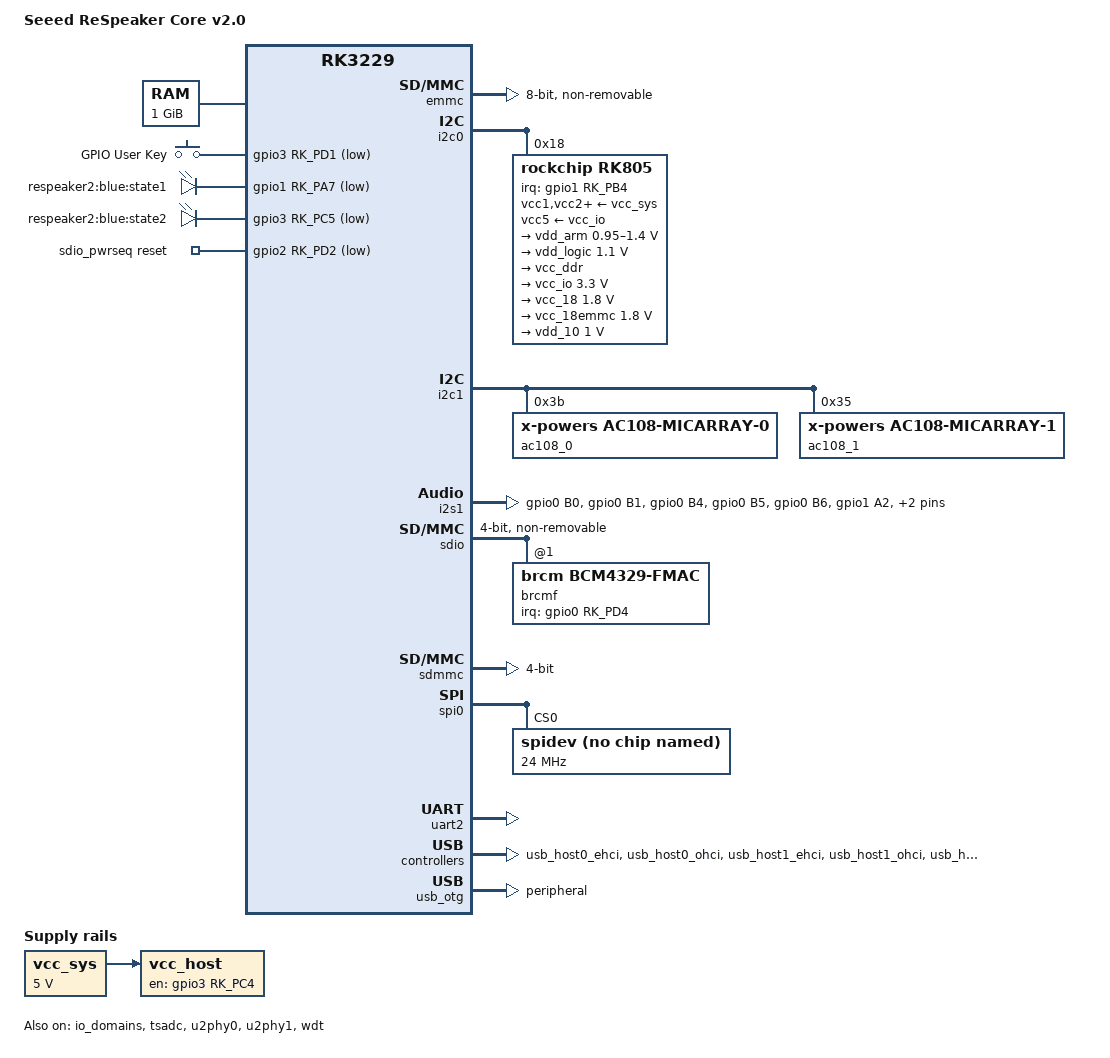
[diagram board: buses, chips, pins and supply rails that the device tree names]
// SPDX-License-Identifier: (GPL-2.0+ OR MIT)
/*
 * Seeed ReSpeaker Core v2.0 (RK3229, RK805 PMIC, AP6212, 2x AC108 mic ADC)
 *
 * Written for mainline 6.18 from Seeed's 4.4 vendor tree
 * (rk3229-respeaker-v2.dts, Copyright (c) 2017 Seeed Technology Co., Ltd).
 */

/dts-v1/;

#include <dt-bindings/input/input.h>
#include <dt-bindings/leds/common.h>
#include "rk3229.dtsi"

/ {
	model = "Seeed ReSpeaker Core v2.0";
	compatible = "seeed,respeaker-core-v2", "rockchip,rk3229";

	aliases {
		mmc0 = &sdmmc;
		mmc1 = &emmc;
		mmc2 = &sdio;
		serial2 = &uart2;
	};

	chosen {
		stdout-path = "serial2:115200n8";
	};

	memory@60000000 {
		device_type = "memory";
		reg = <0x60000000 0x40000000>;
	};

	reserved-memory {
		#address-cells = <1>;
		#size-cells = <1>;
		ranges;

		/* OP-TEE / trust image loaded by the vendor bootloader */
		trust_reserved: trust@68400000 {
			reg = <0x68400000 0xe00000>;
			no-map;
		};

		/* kernel log that survives a panic or watchdog reset: /sys/fs/pstore */
		ramoops@90000000 {
			compatible = "ramoops";
			reg = <0x90000000 0x100000>;
			record-size = <0x20000>;
			console-size = <0x80000>;
			ecc-size = <16>;
		};
	};

	gpio-keys {
		compatible = "gpio-keys";
		autorepeat;
		pinctrl-names = "default";
		pinctrl-0 = <&user_key>;

		key-user {
			label = "GPIO User Key";
			gpios = <&gpio3 RK_PD1 GPIO_ACTIVE_LOW>;
			linux,code = <KEY_F24>;
			debounce-interval = <100>;
			wakeup-source;
		};
	};

	leds {
		compatible = "gpio-leds";
		pinctrl-names = "default";
		pinctrl-0 = <&gpio_leds>;

		led-0 {
			label = "respeaker2:blue:state1";
			gpios = <&gpio1 RK_PA7 GPIO_ACTIVE_LOW>;
			linux,default-trigger = "heartbeat";
			default-state = "off";
		};

		led-1 {
			label = "respeaker2:blue:state2";
			gpios = <&gpio3 RK_PC5 GPIO_ACTIVE_LOW>;
			linux,default-trigger = "mmc0";
			default-state = "off";
		};
	};

	sdio_pwrseq: sdio-pwrseq {
		compatible = "mmc-pwrseq-simple";
		clocks = <&rk805 1>;
		clock-names = "ext_clock";
		pinctrl-names = "default";
		pinctrl-0 = <&wifi_enable_h>;
		reset-gpios = <&gpio2 RK_PD2 GPIO_ACTIVE_LOW>;
	};

	sound {
		compatible = "simple-audio-card";
		simple-audio-card,name = "seeed-8mic-voicecard";
		simple-audio-card,format = "i2s";
		simple-audio-card,mclk-fs = <256>;

		simple-audio-card,cpu {
			sound-dai = <&i2s1>;
		};

		simple-audio-card,codec {
			sound-dai = <&ac108_0>;
		};
	};

	vcc_sys: regulator-vcc-sys {
		compatible = "regulator-fixed";
		regulator-name = "vcc_sys";
		regulator-always-on;
		regulator-boot-on;
		regulator-min-microvolt = <5000000>;
		regulator-max-microvolt = <5000000>;
	};

	vcc_host: regulator-vcc-host {
		compatible = "regulator-fixed";
		enable-active-high;
		gpio = <&gpio3 RK_PC4 GPIO_ACTIVE_HIGH>;
		pinctrl-names = "default";
		pinctrl-0 = <&host_vbus_drv>;
		regulator-name = "vcc_host";
		regulator-always-on;
		regulator-boot-on;
		vin-supply = <&vcc_sys>;
	};
};

&cpu0 {
	cpu-supply = <&vdd_arm>;
};

&cpu1 {
	cpu-supply = <&vdd_arm>;
};

&cpu2 {
	cpu-supply = <&vdd_arm>;
};

&cpu3 {
	cpu-supply = <&vdd_arm>;
};

&emmc {
	/*
	 * 37.5 MHz, mainline's limit for this controller. At 50 MHz (what the vendor 4.4
	 * tree runs, and what high-speed mode asks for when the dtsi allows more, as
	 * Armbian's does) every data transfer fails here: "switch to bus width 8 failed",
	 * -110. Measured on the board: 25 and 37.5 MHz read correctly at 4 and 8 bits.
	 */
	bus-width = <8>;
	cap-mmc-highspeed;
	max-frequency = <37500000>;
	non-removable;
	status = "okay";
};

&i2c0 {
	status = "okay";

	rk805: pmic@18 {
		compatible = "rockchip,rk805";
		reg = <0x18>;
		interrupt-parent = <&gpio1>;
		interrupts = <RK_PB4 IRQ_TYPE_LEVEL_LOW>;
		#clock-cells = <1>;
		clock-output-names = "xin32k", "rk805-clkout2";
		gpio-controller;
		#gpio-cells = <2>;
		pinctrl-names = "default";
		pinctrl-0 = <&pmic_int_l>;
		system-power-controller;
		wakeup-source;

		vcc1-supply = <&vcc_sys>;
		vcc2-supply = <&vcc_sys>;
		vcc3-supply = <&vcc_sys>;
		vcc4-supply = <&vcc_sys>;
		vcc5-supply = <&vcc_io>;
		vcc6-supply = <&vcc_sys>;

		regulators {
			vdd_arm: DCDC_REG1 {
				regulator-name = "vdd_arm";
				regulator-min-microvolt = <950000>;
				regulator-max-microvolt = <1400000>;
				regulator-ramp-delay = <12500>;
				regulator-always-on;
				regulator-boot-on;
			};

			/* 1.1 V on the running vendor kernel; pinned there */
			vdd_logic: DCDC_REG2 {
				regulator-name = "vdd_logic";
				regulator-min-microvolt = <1100000>;
				regulator-max-microvolt = <1100000>;
				regulator-always-on;
				regulator-boot-on;
			};

			vcc_ddr: DCDC_REG3 {
				regulator-name = "vcc_ddr";
				regulator-always-on;
				regulator-boot-on;
			};

			vcc_io: DCDC_REG4 {
				regulator-name = "vcc_io";
				regulator-min-microvolt = <3300000>;
				regulator-max-microvolt = <3300000>;
				regulator-always-on;
				regulator-boot-on;
			};

			vcc_18: LDO_REG1 {
				regulator-name = "vcc_18";
				regulator-min-microvolt = <1800000>;
				regulator-max-microvolt = <1800000>;
				regulator-always-on;
				regulator-boot-on;
			};

			vcc_18emmc: LDO_REG2 {
				regulator-name = "vcc_18emmc";
				regulator-min-microvolt = <1800000>;
				regulator-max-microvolt = <1800000>;
				regulator-always-on;
				regulator-boot-on;
			};

			vdd_10: LDO_REG3 {
				regulator-name = "vdd_10";
				regulator-min-microvolt = <1000000>;
				regulator-max-microvolt = <1000000>;
				regulator-always-on;
				regulator-boot-on;
			};
		};
	};
};

&i2c1 {
	status = "okay";

	/* chip 0 is the sound component and drives chip 1 as well */
	ac108_0: adc@3b {
		compatible = "x-powers,ac108-micarray-0";
		reg = <0x3b>;
		#sound-dai-cells = <0>;
	};

	ac108_1: adc@35 {
		compatible = "x-powers,ac108-micarray-1";
		reg = <0x35>;
	};
};

&i2s1 {
	#sound-dai-cells = <0>;
	pinctrl-names = "default";
	pinctrl-0 = <&i2s1_respeaker>;
	rockchip,playback-channels = <2>;
	rockchip,capture-channels = <8>;
	/*
	 * The mic chips take LRCK from the TX LRCK pin (GPIO0_B4); the RX LRCK pin
	 * is not muxed. rockchip_i2s starts TX and RX together, so that pin toggles
	 * during capture-only use, same as under the vendor kernel (XFER = 0x3).
	 */
	status = "okay";
};

&io_domains {
	vccio1-supply = <&vcc_io>;
	vccio2-supply = <&vcc_io>;
	/* SDIO/wifi pads: GRF_IO_VSEL bit 2 is set (1.8 V) under the vendor kernel */
	vccio3-supply = <&vcc_18>;
	vccio4-supply = <&vcc_io>;
	status = "okay";
};

&pinctrl {
	i2s1 {
		/* as rk322x.dtsi i2s1_bus but without GPIO0_B3 (LRCK_RX), unused here */
		i2s1_respeaker: i2s1-respeaker {
			rockchip,pins = <0 RK_PB0 1 &pcfg_pull_none>,
					<0 RK_PB1 1 &pcfg_pull_none>,
					<0 RK_PB4 1 &pcfg_pull_none>,
					<0 RK_PB5 1 &pcfg_pull_none>,
					<0 RK_PB6 1 &pcfg_pull_none>,
					<1 RK_PA2 2 &pcfg_pull_none>,
					<1 RK_PA4 2 &pcfg_pull_none>,
					<1 RK_PA5 2 &pcfg_pull_none>;
		};
	};

	keys {
		user_key: user-key {
			rockchip,pins = <3 RK_PD1 RK_FUNC_GPIO &pcfg_pull_up>;
		};
	};

	leds {
		gpio_leds: gpio-leds {
			rockchip,pins = <1 RK_PA7 RK_FUNC_GPIO &pcfg_pull_none>,
					<3 RK_PC5 RK_FUNC_GPIO &pcfg_pull_none>;
		};
	};

	pmic {
		pmic_int_l: pmic-int-l {
			rockchip,pins = <1 RK_PB4 RK_FUNC_GPIO &pcfg_pull_up>;
		};
	};

	sdio-pwrseq {
		wifi_enable_h: wifi-enable-h {
			rockchip,pins = <2 RK_PD2 RK_FUNC_GPIO &pcfg_pull_none>;
		};
	};

	usb {
		host_vbus_drv: host-vbus-drv {
			rockchip,pins = <3 RK_PC4 RK_FUNC_GPIO &pcfg_pull_none>;
		};
	};

	wifi {
		wifi_host_wake: wifi-host-wake {
			rockchip,pins = <0 RK_PD4 RK_FUNC_GPIO &pcfg_pull_none>;
		};
	};
};

&sdio {
	#address-cells = <1>;
	#size-cells = <0>;
	bus-width = <4>;
	cap-sd-highspeed;
	cap-sdio-irq;
	keep-power-in-suspend;
	max-frequency = <50000000>;
	mmc-pwrseq = <&sdio_pwrseq>;
	non-removable;
	status = "okay";

	brcmf: wifi@1 {
		compatible = "brcm,bcm4329-fmac";
		reg = <1>;
		interrupt-parent = <&gpio0>;
		interrupts = <RK_PD4 IRQ_TYPE_LEVEL_HIGH>;
		interrupt-names = "host-wake";
		pinctrl-names = "default";
		pinctrl-0 = <&wifi_host_wake>;
	};
};

&sdmmc {
	bus-width = <4>;
	cap-sd-highspeed;
	card-detect-delay = <200>;
	disable-wp;
	max-frequency = <50000000>;
	status = "okay";
};

&spi0 {
	/* 12x APA102 LED ring on CS0; vendor tree muxes the "spi1" pin group */
	pinctrl-names = "default";
	pinctrl-0 = <&spi1_clk &spi1_tx &spi1_rx &spi1_cs0>;
	status = "okay";

	spidev@0 {
		compatible = "rohm,dh2228fv";
		reg = <0>;
		spi-max-frequency = <24000000>;
	};
};

&tsadc {
	rockchip,hw-tshut-mode = <0>;
	status = "okay";
};

/*
 * No phy-supply on the USB PHY ports: vcc_host is always-on, and a deferred supply makes
 * rockchip_usb2phy_probe() fail after the OTG port has queued its state-machine work,
 * which then runs on freed memory (seen as a panic ~4 s into boot on 6.18).
 */
&u2phy0 {
	status = "okay";

	u2phy0_otg: otg-port {
		status = "okay";
	};

	u2phy0_host: host-port {
		status = "okay";
	};
};

&u2phy1 {
	status = "okay";

	u2phy1_otg: otg-port {
		status = "okay";
	};

	u2phy1_host: host-port {
		status = "okay";
	};
};

&wdt {
	status = "okay";
};

&uart2 {
	pinctrl-names = "default";
	pinctrl-0 = <&uart21_xfer>;
	status = "okay";
};

&usb_host0_ehci {
	status = "okay";
};

&usb_host0_ohci {
	status = "okay";
};

&usb_host1_ehci {
	status = "okay";
};

&usb_host1_ohci {
	status = "okay";
};

&usb_host2_ehci {
	status = "okay";
};

&usb_host2_ohci {
	status = "okay";
};

/* the micro-USB "OTG" port: device mode, used for the gadget serial console */
&usb_otg {
	dr_mode = "peripheral";
	status = "okay";
};
